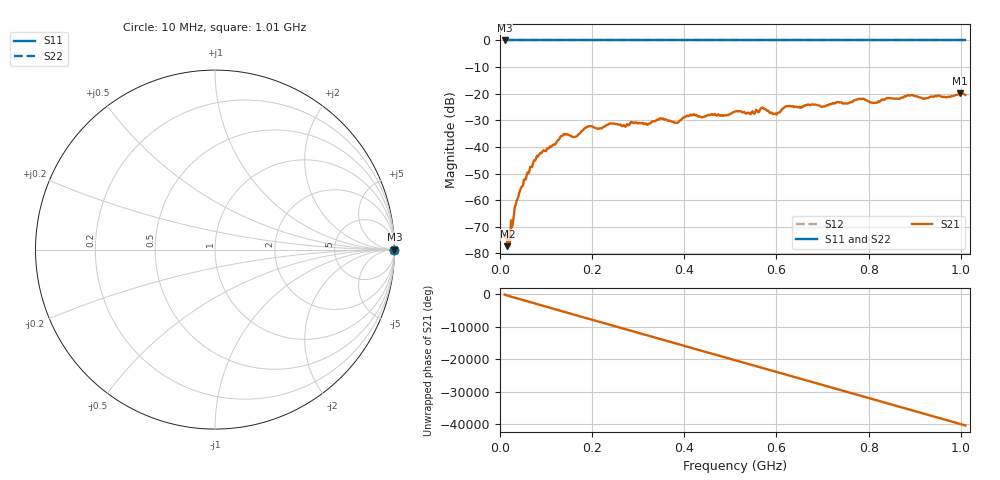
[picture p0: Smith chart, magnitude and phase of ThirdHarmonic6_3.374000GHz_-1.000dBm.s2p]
! 8/17/2025 10:42:38 AM
! C:\ANRITSUVNA\TEMP\TEMP.S2P
! CHANNEL.1
! TR.MEASUREMENT
! RAW.DATA
! RF.CORRECTION.OFF
! AVERAGING.OFF
! IF.BANDWIDTH: 5KHZ
! SWEEPTYPE:  FREQ.SWEEP(Linear)
! Reference Plane Port Info
! PORT:  PORT1  PORT2
! DISTANCE:  0  m  0  m
! TIME:  0  s  0  s
! PHASE.OFFSET:  0  deg.  0  deg.
! LOSS:  0  dB  0  dB
! REF.LOSS:  0  dB  0  dB
! REF.FREQ:  0  Hz  0  Hz
! Power Info
! POWER:  -20  dBm  -20  dBm
! EFF.POWER:  -20  dBm  -20  dBm
! SOURCE.ATTEN:  0  dB  0  dB
! TEST.ATTEN:  0  dB  0  dB
# GHZ S RI R 50.0
! FREQ.GHZ  S11RE  S11IM  S21RE  S21IM  S12RE  S12IM  S22RE  S22IM
!; PortSelection: Port_12
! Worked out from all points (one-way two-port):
!   501 points, 10 MHz to 1.01 GHz, reference 50 ohm
!   highest |S21| = -19.87 dB at 998 MHz (marker M1); lowest = -77.3 dB at 16 MHz (marker M2)
!   lowest |S11| = 0.0 dB at 10 MHz (marker M3)
!   |S11| at or under -10 dB: nowhere
!   |S22| runs from 0.0 to 0.0 dB; largest |S21 - S12| = 1.1
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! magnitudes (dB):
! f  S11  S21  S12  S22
! 10 MHz  0.0  -74.0  0.0  0.0
! 16 MHz  0.0  -77.3  0.0  0.0
! 24 MHz  0.0  -67.5  0.0  0.0
! 34 MHz  0.0  -61.8  0.0  0.0
! 42 MHz  0.0  -57.1  0.0  0.0
! 76 MHz  0.0  -45.1  0.0  0.0
! 136 MHz  0.0  -35.7  0.0  0.0
! 162 MHz  0.0  -36.2  0.0  0.0
! 178 MHz  0.0  -34.0  0.0  0.0
! 344 MHz  0.0  -29.8  0.0  0.0
! 382 MHz  0.0  -30.9  0.0  0.0
! 416 MHz  0.0  -28.2  0.0  0.0
! 510 MHz  0.0  -26.7  0.0  0.0
! 570 MHz  0.0  -25.2  0.0  0.0
! 596 MHz  0.0  -27.5  0.0  0.0
! 622 MHz  0.0  -24.7  0.0  0.0
! 678 MHz  0.0  -24.1  0.0  0.0
! 784 MHz  0.0  -22.0  0.0  0.0
! 814 MHz  0.0  -23.4  0.0  0.0
! 844 MHz  0.0  -21.7  0.0  0.0
! 998 MHz  0.0  -19.9  0.0  0.0
! 1.01 GHz  0.0  -20.5  0.0  0.0
